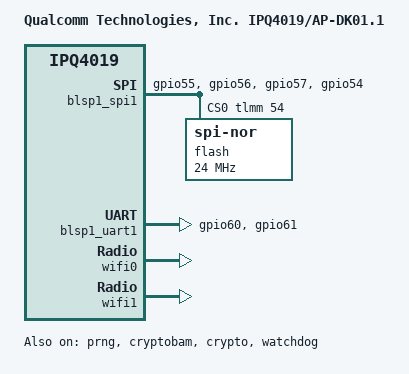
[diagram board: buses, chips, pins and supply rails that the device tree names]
/* Copyright (c) 2015, The Linux Foundation. All rights reserved.
 *
 * Permission to use, copy, modify, and/or distribute this software for any
 * purpose with or without fee is hereby granted, provided that the above
 * copyright notice and this permission notice appear in all copies.
 *
 * THE SOFTWARE IS PROVIDED "AS IS" AND THE AUTHOR DISCLAIMS ALL WARRANTIES
 * WITH REGARD TO THIS SOFTWARE INCLUDING ALL IMPLIED WARRANTIES OF
 * MERCHANTABILITY AND FITNESS. IN NO EVENT SHALL THE AUTHOR BE LIABLE FOR
 * ANY SPECIAL, DIRECT, INDIRECT, OR CONSEQUENTIAL DAMAGES OR ANY DAMAGES
 * WHATSOEVER RESULTING FROM LOSS OF USE, DATA OR PROFITS, WHETHER IN AN
 * ACTION OF CONTRACT, NEGLIGENCE OR OTHER TORTIOUS ACTION, ARISING OUT OF
 * OR IN CONNECTION WITH THE USE OR PERFORMANCE OF THIS SOFTWARE.
 *
 */

#include <dt-bindings/gpio/gpio.h>
#include "qcom-ipq4019.dtsi"

/ {
	model = "Qualcomm Technologies, Inc. IPQ4019/AP-DK01.1";

	aliases {
		serial0 = &blsp1_uart1;
	};

	chosen {
		stdout-path = "serial0:115200n8";
	};
};

&prng {
	status = "okay";
};

&tlmm {
	serial_pins: serial-state {
		pins = "gpio60", "gpio61";
		function = "blsp_uart0";
		bias-disable;
	};

	spi_0_pins: spi-0-state {
		spi0-pins {
			pins = "gpio55", "gpio56", "gpio57";
			function = "blsp_spi0";
			drive-strength = <12>;
			bias-disable;
		};
		spi0-cs-pins {
			pins = "gpio54";
			function = "gpio";
			drive-strength = <2>;
			bias-disable;
			output-high;
		};
	};
};

&blsp_dma {
	status = "okay";
};

&blsp1_spi1 {
	pinctrl-0 = <&spi_0_pins>;
	pinctrl-names = "default";
	status = "okay";
	cs-gpios = <&tlmm 54 GPIO_ACTIVE_HIGH>;

	flash@0 {
		reg = <0>;
		compatible = "jedec,spi-nor";
		spi-max-frequency = <24000000>;
	};
};

&blsp1_uart1 {
	pinctrl-0 = <&serial_pins>;
	pinctrl-names = "default";
	status = "okay";
};

&cryptobam {
	status = "okay";
};

&crypto {
	status = "okay";
};

&watchdog {
	status = "okay";
};

&wifi0 {
	status = "okay";
};

&wifi1 {
	status = "okay";
};
